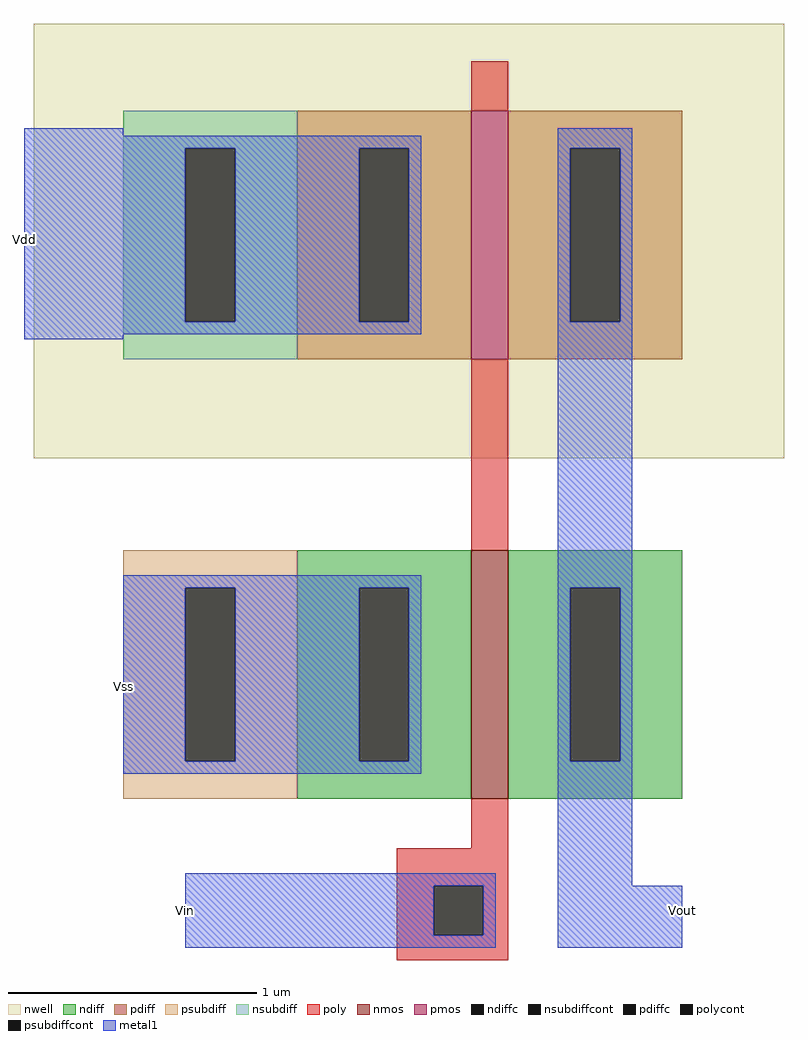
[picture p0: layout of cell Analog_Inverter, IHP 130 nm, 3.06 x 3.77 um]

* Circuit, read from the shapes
.subckt Analog_Inverter Vdd Vss Vin Vout
XM1 Vout Vin Vss Vss sg13_lv_nmos w=1u l=0.15u
XM2 Vout Vin Vdd Vdd sg13_lv_pmos w=1u l=0.15u
.ends

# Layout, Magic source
magic
tech ihp-sg13g2
<< nwell >>
rect -181 112 121 287
<< nmos >>
rect -5 -25 10 75
<< pmos >>
rect -5 152 10 252
<< ndiff >>
rect -75 60 -5 75
rect -75 -10 -50 60
rect -30 -10 -5 60
rect -75 -25 -5 -10
rect 10 60 80 75
rect 10 -10 35 60
rect 55 -10 80 60
rect 10 -25 80 -10
<< pdiff >>
rect -75 237 -5 252
rect -75 167 -50 237
rect -30 167 -5 237
rect -75 152 -5 167
rect 10 237 80 252
rect 10 167 35 237
rect 55 167 80 237
rect 10 152 80 167
<< ndiffc >>
rect -50 -10 -30 60
rect 35 -10 55 60
<< pdiffc >>
rect -50 167 -30 237
rect 35 167 55 237
<< psubdiff >>
rect -145 60 -75 75
rect -145 -10 -120 60
rect -100 -10 -75 60
rect -145 -25 -75 -10
<< nsubdiff >>
rect -145 237 -75 252
rect -145 167 -120 237
rect -100 167 -75 237
rect -145 152 -75 167
<< psubdiffcont >>
rect -120 -10 -100 60
<< nsubdiffcont >>
rect -120 167 -100 237
<< poly >>
rect -5 252 10 272
rect -5 75 10 152
rect -5 -45 10 -25
rect -35 -60 10 -45
rect -35 -80 -20 -60
rect 0 -80 10 -60
rect -35 -90 10 -80
<< polycont >>
rect -20 -80 0 -60
<< metal1 >>
rect -185 242 -145 245
rect -185 237 -25 242
rect -185 167 -120 237
rect -100 167 -50 237
rect -30 167 -25 237
rect -185 162 -25 167
rect 30 237 60 245
rect 30 167 35 237
rect 55 167 60 237
rect -185 160 -145 162
rect -145 60 -25 65
rect -145 -10 -120 60
rect -100 -10 -50 60
rect -30 -10 -25 60
rect -145 -15 -25 -10
rect 30 60 60 167
rect 30 -10 35 60
rect 55 -10 60 60
rect -120 -60 5 -55
rect -120 -80 -20 -60
rect 0 -80 5 -60
rect -120 -85 5 -80
rect 30 -60 60 -10
rect 30 -85 80 -60
<< labels >>
rlabel metal1 -145 20 -145 20 7 Vss
port 2 w
rlabel metal1 -185 200 -185 200 7 Vdd
port 1 w
rlabel metal1 -120 -70 -120 -70 7 Vin
port 3 w
rlabel metal1 80 -70 80 -70 3 Vout
port 4 e
<< end >>
